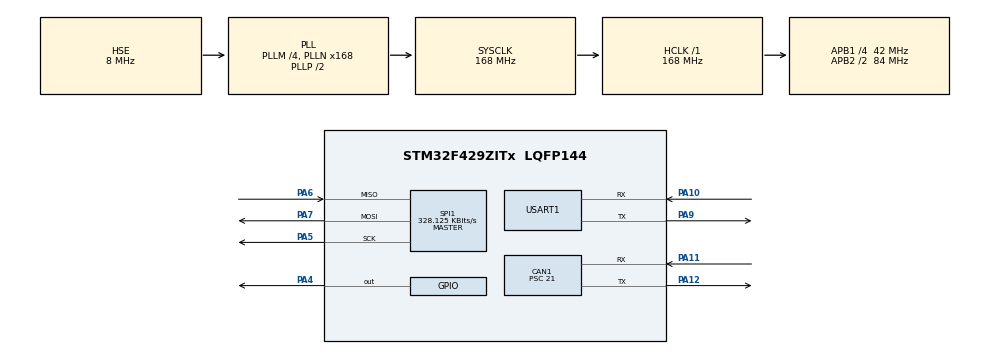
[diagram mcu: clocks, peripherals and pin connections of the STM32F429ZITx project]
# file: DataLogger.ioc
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Mcu.Family=STM32F4
RCC.PLLSourceVirtual=RCC_PLLSOURCE_HSE
PA6.Mode=Full_Duplex_Master
VP_SYS_VS_tim6.Mode=TIM6
RCC.CortexFreq_Value=168000000
FREERTOS.Tasks01=defaultTask,24,128,StartDefaultTask,Default,NULL,Dynamic,NULL,NULL
PA7.Mode=Full_Duplex_Master
FATFS._USE_LFN=2
PA10.Mode=Asynchronous
SPI1.VirtualType=VM_MASTER
NVIC.TIM6_DAC_IRQn=true\:0\:0\:false\:false\:true\:false\:false\:true
CAN1.CalculateBaudRate=125000
PA11.Mode=CAN_Activate
RCC.APB1CLKDivider=RCC_HCLK_DIV4
RCC.SYSCLKSource=RCC_SYSCLKSOURCE_PLLCLK
ProjectManager.StackSize=0xaaa
VP_FREERTOS_VS_CMSIS_V2.Mode=CMSIS_V2
PA13.Signal=SYS_JTMS-SWDIO
PA9.Mode=Asynchronous
PA12.Signal=CAN1_TX
PA4.PinState=GPIO_PIN_SET
CAN1.BS2=CAN_BS2_6TQ
CAN1.BS1=CAN_BS1_9TQ
ProjectManager.TargetToolchain=STM32CubeIDE
SPI1.Direction=SPI_DIRECTION_2LINES
PH0/OSC_IN.Mode=HSE-External-Clock-Source
RCC.HCLKFreq_Value=168000000
RCC.APB2TimFreq_Value=168000000
PA9.Signal=USART1_TX
PH1/OSC_OUT.Signal=RCC_OSC_OUT
SPI1.CalculateBaudRate=328.125 KBits/s
RCC.LSE_VALUE=32768
RCC.AHBFreq_Value=168000000
VP_FATFS_VS_Generic.Mode=User_defined
PA5.Signal=SPI1_SCK
RCC.HSE_VALUE=8000000
PB3.Mode=Trace_Asynchronous_SW
board=STM32F429I-DISC1
RCC.VCOOutputFreq_Value=336000000
PA4.GPIO_Speed=GPIO_SPEED_FREQ_MEDIUM
PH0/OSC_IN.Signal=RCC_OSC_IN
RCC.APB2Freq_Value=84000000
SPI1.Mode=SPI_MODE_MASTER
PA14.Mode=Trace_Asynchronous_SW
PA13.Mode=Trace_Asynchronous_SW
PH1/OSC_OUT.Mode=HSE-External-Clock-Source
Mcu.Name=STM32F429ZITx
FATFS._MAX_SS=4096
RCC.48MHZClocksFreq_Value=48000000
PB3.Signal=SYS_JTDO-SWO
PA4.Signal=GPIO_Output
RCC.SYSCLKFreq_VALUE=168000000
CAN1.Prescaler=21
Mcu.Package=LQFP144
PA6.Signal=SPI1_MISO
FREERTOS.configUSE_NEWLIB_REENTRANT=1
NVIC.TimeBase=TIM6_DAC_IRQn
PA12.Mode=CAN_Activate
USART1.VirtualMode=VM_ASYNC
PA11.Signal=CAN1_RX
NVIC.TimeBaseIP=TIM6
PA10.Signal=USART1_RX
PA14.Signal=SYS_JTCK-SWCLK
ProjectManager.HeapSize=0xaaa
RCC.HSI_VALUE=16000000
RCC.PLLQ=7
NVIC.PriorityGroup=NVIC_PRIORITYGROUP_4
RCC.APB2CLKDivider=RCC_HCLK_DIV2
RCC.PLLM=4
RCC.PLLN=168
RCC.APB1TimFreq_Value=84000000
NVIC.USART1_IRQn=true\:5\:0\:false\:false\:true\:true\:true\:true
RCC.APB1Freq_Value=42000000
SPI1.BaudRatePrescaler=SPI_BAUDRATEPRESCALER_256
CAN1.CalculateTimeBit=8000.00
NVIC.CAN1_RX0_IRQn=true\:5\:0\:false\:false\:true\:true\:true\:true
CAN1.CalculateTimeQuantum=500.0
PA7.Signal=SPI1_MOSI
PA5.Mode=Full_Duplex_Master

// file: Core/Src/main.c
/* USER CODE BEGIN Header */
/**
  ******************************************************************************
  * @file           : main.c
  * @brief          : Main program body
  ******************************************************************************
  * @attention
  *
  * <h2><center>&copy; Copyright (c) 2021 STMicroelectronics.
  * All rights reserved.</center></h2>
  *
  * This software component is licensed by ST under BSD 3-Clause license,
  * the "License"; You may not use this file except in compliance with the
  * License. You may obtain a copy of the License at:
  *                        opensource.org/licenses/BSD-3-Clause
  *
  ******************************************************************************
  */
/* USER CODE END Header */
#include "main.h"
#include "cmsis_os.h"
#include "can.h"
#include "fatfs.h"
#include "spi.h"
#include "usart.h"
#include "gpio.h"

/* USER CODE BEGIN Includes */
#include "retarget.h"
#include "queue.h"
#include "stdio.h"
#include <string.h>
/* USER CODE END Includes */

/* USER CODE BEGIN PV */

char CANMessID[] = "Mess ID Is : ";
char CAN_RTR[] = "Mess IS Remote Frame : ";
char CAN_DLC[] = " Mess Lenght : " ;

void StartDefaultTask(void *argument);
void ReadFile_Fun(void *argument);
void ParseCommand_Fun(void *argument);
void StoreMessage_Fun(void *argument);

static CANMesg_t CanMessReceived ;

/* USER CODE END Variables */
/* Definitions for defaultTask */

/* Definitions for ReadFileTask */
osThreadId_t ReadFileTaskHandle;
const osThreadAttr_t ReadFileTask_attributes = {
  .name = "ReadFileTask",
  .stack_size = 256 * 4,
  .priority = (osPriority_t) osPriorityHigh1,
};
/* Definitions for ParseCommandTas */
osThreadId_t ParseCommandTasHandle;
const osThreadAttr_t ParseCommandTas_attributes = {
  .name = "ParseCommandTas",
.stack_size = 256 * 4,
  .priority = (osPriority_t) osPriorityHigh,
};
///* Definitions for StoreMessageTas */
osThreadId_t StoreMessageTasHandle;
const osThreadAttr_t StoreMessageTas_attributes = {
  .name = "StoreMessageTas",
  .stack_size = 256 * 4,
  .priority = (osPriority_t) osPriorityHigh,
};
///* Definitions for QueueCANReceive */
osMessageQueueId_t QueueCANReceiveHandle;
const osMessageQueueAttr_t QueueCANReceive_attributes = {
 .name = "QueueCANReceive"
};
//
osMessageQueueId_t QueueCommandHandle;
const osMessageQueueAttr_t QueueCommand_attributes = {
  .name = "QueueCommand"
};
//
///* Definitions for SemWaitCommand */
osSemaphoreId_t SemWaitCommandHandle;
const osSemaphoreAttr_t SemWaitCommand_attributes = {
  .name = "SemWaitCommand"
};
//
//
QueueHandle_t CANMessQueue ;
void transmit_uart(char * string){
	uint8_t len = strlen(string);
	HAL_UART_Transmit(&huart1, (uint8_t *)string, len, 200);
}

/* SDcard manage variables */
FATFS 	FATFS_Struct;
FIL 	File_Struct;
char 	FileBuffer[100];
FATFS *pfs;
DWORD fre_clust;
uint32_t totalSpace, freeSpace;

/* CAN manage variables */
CAN_RxHeaderTypeDef Rxmessage ;
CAN_TxHeaderTypeDef TxMessage ;
CAN_FilterTypeDef FilterInit ;
uint32_t fifo0 = CAN_RX_FIFO0;
uint8_t Command = 0 ;

/* USER CODE END PV */

void SystemClock_Config(void);
void MX_FREERTOS_Init(void);

/* USER CODE BEGIN 0 */

/* this function hold all pre initialization step */
void FirstInitializationProcess(void)
{
	  TxMessage.DLC = 8;
	  TxMessage.ExtId =0;
	  TxMessage.IDE = CAN_ID_STD;
	  TxMessage.RTR =0;
	  TxMessage.StdId = 0x123;
	  RetargetInit(&huart1);
	  HAL_Delay(500);

	  	if( f_mount(&FATFS_Struct, "", 0) == FR_OK) {
	  		printf("Micro SD card is mounted successfully!\n");
	  	} else {
	  		printf("Micro SD card's mount error!\n");
	  	}

		if ( f_getfree("", &fre_clust, &pfs)== FR_OK) {
	  	totalSpace = (uint32_t) ((pfs->n_fatent - 2) * pfs->csize * 0.5);
	  	freeSpace = (uint32_t) (fre_clust * pfs->csize * 0.5);
	  	char mSz[12];
	  	sprintf(mSz, "%lu", freeSpace);
	  	printf("The free space is: %s \n",mSz);
	  	} else {
	  		printf("The free space could not be determined!\n");
	  	}

	  	/* Open file to read */

	  	printf("The SDcard is successfully mounted  \n");

	  	if ( f_open(&File_Struct, "file.txt", FA_OPEN_APPEND | FA_WRITE | FA_READ)== FR_OK) {
	  		printf("File opened for reading and checking the free space.\n");
	  	} else  {
	  		printf("File was not opened for reading and checking the free space!\n");
	  	}

	printf("their is only two available commands \n press 1 : to read all logged data \n press 2 : to flush file \n");

	  FilterInit.FilterActivation = CAN_FILTER_ENABLE ;
	  FilterInit.FilterBank = 2;
	  FilterInit.FilterFIFOAssignment = CAN_FILTER_FIFO0;
	  FilterInit.FilterIdHigh = 0x123<<5;
	  FilterInit.FilterIdLow = 0;
	  FilterInit.FilterMaskIdHigh = 0x00;

	  FilterInit.FilterMode = CAN_FILTERMODE_IDMASK;
	  FilterInit.FilterScale = CAN_FILTERSCALE_32BIT;
	  HAL_CAN_ConfigFilter(&hcan1,&FilterInit);

	  __HAL_UART_ENABLE_IT(&huart1,UART_IT_RXNE);
	  HAL_UART_Receive_IT(&huart1, &Command, 1);

	  __HAL_CAN_ENABLE_IT(&hcan1, CAN_IT_RX_FIFO0_MSG_PENDING);
	  HAL_CAN_Start(&hcan1);

}

/* USER CODE END 0 */

int main(void)
{

  /* MCU Configuration--------------------------------------------------------*/

  /* Reset of all peripherals, Initializes the Flash interface and the Systick. */
  HAL_Init();

  /* Configure the system clock */
  SystemClock_Config();

  /* Initialize all configured peripherals */
  MX_GPIO_Init();
  MX_SPI1_Init();
  MX_FATFS_Init();
  MX_USART1_UART_Init();
  MX_CAN1_Init();
  /* USER CODE BEGIN 2 */
  FirstInitializationProcess();

  SemWaitCommandHandle = osSemaphoreNew(1, 1, &SemWaitCommand_attributes);

  QueueCANReceiveHandle = osMessageQueueNew (8, sizeof(CAN_RxHeaderTypeDef), &QueueCANReceive_attributes);

  /* creation of ReadFileTask */
  ReadFileTaskHandle = osThreadNew(ReadFile_Fun, NULL, &ReadFileTask_attributes);

  /* creation of ParseCommandTas */
  ParseCommandTasHandle = osThreadNew(ParseCommand_Fun, NULL, &ParseCommandTas_attributes);

  /* creation of StoreMessageTas */
  StoreMessageTasHandle = osThreadNew(StoreMessage_Fun, NULL, &StoreMessageTas_attributes);

  QueueCommandHandle = osMessageQueueNew(2,sizeof( uint8_t), &QueueCommand_attributes);

  CANMessQueue= xQueueCreate( 7, sizeof(CANMesg_t));

  /* USER CODE END 2 */

  /* Init scheduler */
  osKernelInitialize();  /* Call init function for freertos objects (in freertos.c) */
  MX_FREERTOS_Init();
  /* Start scheduler */
  osKernelStart();

  /* We should never get here as control is now taken by the scheduler */
  /* Infinite loop */
  while (1)
  {

  }
}

void SystemClock_Config(void)
{
  RCC_OscInitTypeDef RCC_OscInitStruct = {0};
  RCC_ClkInitTypeDef RCC_ClkInitStruct = {0};

  /** Configure the main internal regulator output voltage
  */
  __HAL_RCC_PWR_CLK_ENABLE();
  __HAL_PWR_VOLTAGESCALING_CONFIG(PWR_REGULATOR_VOLTAGE_SCALE1);
  /** Initializes the RCC Oscillators according to the specified parameters
  * in the RCC_OscInitTypeDef structure.
  */
  RCC_OscInitStruct.OscillatorType = RCC_OSCILLATORTYPE_HSE;
  RCC_OscInitStruct.HSEState = RCC_HSE_BYPASS;
  RCC_OscInitStruct.PLL.PLLState = RCC_PLL_ON;
  RCC_OscInitStruct.PLL.PLLSource = RCC_PLLSOURCE_HSE;
  RCC_OscInitStruct.PLL.PLLM = 4;
  RCC_OscInitStruct.PLL.PLLN = 168;
  RCC_OscInitStruct.PLL.PLLP = RCC_PLLP_DIV2;
  RCC_OscInitStruct.PLL.PLLQ = 7;
  if (HAL_RCC_OscConfig(&RCC_OscInitStruct) != HAL_OK)
  {
    Error_Handler();
  }
  /** Initializes the CPU, AHB and APB buses clocks
  */
  RCC_ClkInitStruct.ClockType = RCC_CLOCKTYPE_HCLK|RCC_CLOCKTYPE_SYSCLK
                              |RCC_CLOCKTYPE_PCLK1|RCC_CLOCKTYPE_PCLK2;
  RCC_ClkInitStruct.SYSCLKSource = RCC_SYSCLKSOURCE_PLLCLK;
  RCC_ClkInitStruct.AHBCLKDivider = RCC_SYSCLK_DIV1;
  RCC_ClkInitStruct.APB1CLKDivider = RCC_HCLK_DIV4;
  RCC_ClkInitStruct.APB2CLKDivider = RCC_HCLK_DIV2;

  if (HAL_RCC_ClockConfig(&RCC_ClkInitStruct, FLASH_LATENCY_5) != HAL_OK)
  {
    Error_Handler();
  }
}

/* USER CODE BEGIN 4 */
//
void ReadFile_Fun(void *argument)
{
//  /* Infinite loop */
	uint8_t C =0 ;
for(;;)
{

	  	osMessageQueueGet(QueueCommandHandle, &C, 0,osWaitForever);

	switch(C)
	{

	case '1' :
			f_close(&File_Struct); /* close file after each write to be safe  */
			if(f_open(&File_Struct, "DataLogger.txt",FA_READ) == FR_OK) /* check if there is an insufficient spaces */
					printf("Data logger file is opened as read file successfully   \n");
				else
					printf("error in Data logger file  !!!!!!!!!!  \n");
			while (f_gets(FileBuffer, sizeof(FileBuffer), &File_Struct)) {
			printf("%s " ,FileBuffer);
		}
		break ;

		case '2' :
			printf("closing the file \n");
			f_close(&File_Struct); /* close file after each write to be safe  */

		break ;

		default :

		break ;
		}

  }
}

void ParseCommand_Fun(void *argument)
{
  /* Infinite loop */
  for(;;)
  {
    osDelay(10);
  }

}

void StoreMessage_Fun(void *argument)
{
	/* char CANMessID[] = "Mess ID Is : ";
char CAN_RTR[] = "Mess IS Remote Frame : ";
char CAN_DLC[] = " Mess Lenght " ;

	 *
	 * */

  for(;;)
 {

	memset(FileBuffer ,0 , sizeof(	FileBuffer));
	xQueueReceive(CANMessQueue,&CanMessReceived ,-1);
	if(CanMessReceived.CANHeader.IDE == CAN_ID_STD)
	sprintf(FileBuffer,"%s  %x \n",CANMessID ,CanMessReceived.CANHeader.StdId );
	else
		sprintf(FileBuffer,"%s  %x \n",CANMessID ,CanMessReceived.CANHeader.ExtId );

		f_puts(FileBuffer, &File_Struct);
		memset(FileBuffer ,0 , sizeof(	FileBuffer));

		if(CanMessReceived.CANHeader.RTR == CAN_RTR_DATA)
		{
			sprintf(FileBuffer,"%s %s\n",CAN_RTR ,"false" );
			f_puts(FileBuffer, &File_Struct);
			memset(FileBuffer ,0 , sizeof(	FileBuffer));
		sprintf(FileBuffer,"%s %x %x %x %x %x %x %x %x \n","CAN DATA :",CanMessReceived.MesgData[0], CanMessReceived.MesgData[1], \
																			CanMessReceived.MesgData[2], CanMessReceived.MesgData[3],  \
																			CanMessReceived.MesgData[4], CanMessReceived.MesgData[5],  \
																	        CanMessReceived.MesgData[6], CanMessReceived.MesgData[7]);
			f_puts(FileBuffer, &File_Struct);
			printf("%s",FileBuffer);

		}else{
			sprintf(FileBuffer,"%s %s\n",CAN_RTR ,"true ,no data " );
			f_puts(FileBuffer, &File_Struct);

		}

		sprintf(FileBuffer,"\n ***************************************************************\n");

 }
}

void HAL_UART_RxCpltCallback(UART_HandleTypeDef *huart)
{
	if(huart->Instance == huart1.Instance) /* check uart instance first */
	{
		osMessageQueuePut(QueueCommandHandle, &Command, 0 ,0);

	}

}

/* USER CODE END 4 */

 /**
  * @brief  Period elapsed callback in non blocking mode
  * @note   This function is called  when TIM6 interrupt took place, inside
  * HAL_TIM_IRQHandler(). It makes a direct call to HAL_IncTick() to increment
  * a global variable "uwTick" used as application time base.
  * @param  htim : TIM handle
  * @retval None
  */
void HAL_TIM_PeriodElapsedCallback(TIM_HandleTypeDef *htim)
{
  if (htim->Instance == TIM6) {
    HAL_IncTick();
  }
}

void Error_Handler(void)
{
  __disable_irq();
  while (1)
  {
  }
}

/************************ (C) COPYRIGHT STMicroelectronics *****END OF FILE****/
